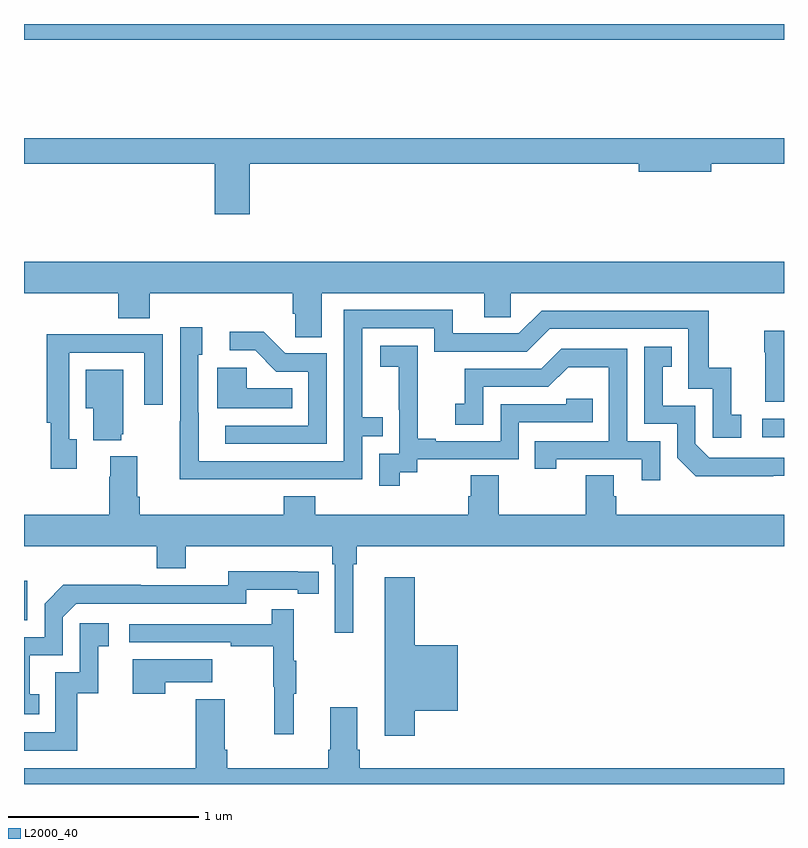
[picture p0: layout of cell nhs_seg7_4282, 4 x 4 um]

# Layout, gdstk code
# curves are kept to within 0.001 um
import gdstk
lib = gdstk.Library(unit=1e-6, precision=1e-09)
def R(c, l, rs):  # rectangles x0, y0, x1, y1
    for r in rs: c.add(gdstk.rectangle(r[:2], r[2:], *l))
def P(c, l, *ps):  # polygons
    for p in ps: c.add(gdstk.Polygon(p, *l))
L2000_40 = (2000, 40)

nhs_seg7_4282 = lib.new_cell('nhs_seg7_4282')
R(nhs_seg7_4282, L2000_40, [(381,1030.863,381.018,1031.071), (384.885,1031.826,385,1031.922), (381,1033.916,385,1034)])
P(nhs_seg7_4282, L2000_40, [(382.187,1033.264),(384.236,1033.264),(384.236,1033.222),(384.616,1033.222),(384.616,1033.264),(385,1033.264),(385,1033.4),(381,1033.4),(381,1033.264),(382.004,1033.264),(382.004,1032.999),(382.187,1032.999)],
  [(382.567,1032.584),(383.423,1032.584),(383.423,1032.457),(383.562,1032.457),(383.562,1032.584),(385,1032.584),(385,1032.748),(381,1032.748),(381,1032.584),(381.497,1032.584),(381.497,1032.451),(381.662,1032.451),(381.662,1032.584),(382.415,1032.584),(382.415,1032.475),(382.428,1032.475),(382.428,1032.352),(382.567,1032.352)],
  [(382.283,1031.604),(382.779,1031.604),(382.779,1031.829),(382.889,1031.829),(382.889,1031.93),(382.779,1031.93),(382.779,1032.399),(383.16,1032.399),(383.16,1032.276),(383.646,1032.276),(383.766,1032.396),(384.495,1032.396),(384.495,1032.081),(384.624,1032.081),(384.624,1031.823),(384.775,1031.823),(384.775,1031.943),(384.722,1031.943),(384.722,1032.19),(384.604,1032.19),(384.604,1032.492),(383.724,1032.492),(383.604,1032.372),(383.257,1032.372),(383.257,1032.495),(382.683,1032.495),(382.683,1031.7),(381.919,1031.7),(381.918,1032.258),(381.937,1032.258),(381.937,1032.403),(381.822,1032.403),(381.822,1031.909),(381.82,1031.909),(381.82,1031.603)],
  [(385,1032.385),(384.895,1032.385),(384.895,1032.272),(384.902,1032.272),(384.902,1032.011),(385,1032.011)],
  [(382.593,1032.267),(382.374,1032.267),(382.261,1032.38),(382.083,1032.38),(382.083,1032.282),(382.217,1032.282),(382.328,1032.171),(382.497,1032.171),(382.497,1031.886),(382.059,1031.886),(382.059,1031.79),(382.593,1031.79)],
  [(381.277,1031.814),(381.237,1031.814),(381.237,1032.27),(381.633,1032.27),(381.633,1031.997),(381.729,1031.997),(381.729,1032.366),(381.413,1032.366),(381.413,1032.368),(381.121,1032.368),(381.121,1031.902),(381.14,1031.902),(381.14,1031.658),(381.277,1031.658)],
  [(382.978,1031.641),(383.07,1031.641),(383.07,1031.709),(383.604,1031.709),(383.604,1031.904),(383.993,1031.904),(383.993,1032.027),(383.853,1032.027),(383.853,1032),(383.508,1032),(383.508,1031.805),(383.167,1031.805),(383.167,1031.818),(383.072,1031.818),(383.072,1032.101),(383.073,1032.101),(383.073,1032.307),(382.875,1032.307),(382.875,1032.197),(382.973,1032.197),(382.973,1031.969),(382.974,1031.969),(382.974,1031.739),(382.869,1031.739),(382.869,1031.571),(382.978,1031.571)],
  [(384.944,1031.622),(385,1031.622),(385,1031.718),(384.606,1031.718),(384.534,1031.79),(384.534,1031.991),(384.361,1031.991),(384.361,1032.195),(384.41,1032.195),(384.41,1032.301),(384.264,1032.301),(384.264,1031.895),(384.438,1031.895),(384.438,1031.718),(384.536,1031.621)],
  [(384.348,1031.805),(384.174,1031.805),(384.174,1032.291),(383.828,1032.291),(383.723,1032.186),(383.32,1032.186),(383.32,1032.001),(383.271,1032.001),(383.271,1031.892),(383.418,1031.892),(383.418,1032.09),(383.76,1032.09),(383.864,1032.194),(384.078,1032.194),(384.078,1031.805),(383.689,1031.805),(383.689,1031.658),(383.8,1031.658),(383.8,1031.709),(384.251,1031.709),(384.251,1031.598),(384.348,1031.598)],
  [(382.412,1032.082),(382.173,1032.082),(382.173,1032.19),(382.016,1032.19),(382.016,1031.978),(382.412,1031.978)],
  [(381.512,1031.841),(381.523,1031.841),(381.523,1032.181),(381.326,1032.181),(381.326,1031.978),(381.365,1031.978),(381.365,1031.81),(381.512,1031.81)],
  [(382.732,1031.156),(382.751,1031.156),(382.751,1031.252),(385,1031.252),(385,1031.416),(384.116,1031.416),(384.116,1031.514),(384.103,1031.514),(384.103,1031.624),(383.956,1031.624),(383.956,1031.416),(383.499,1031.416),(383.499,1031.624),(383.351,1031.624),(383.351,1031.514),(383.339,1031.514),(383.339,1031.416),(382.532,1031.416),(382.532,1031.515),(382.367,1031.515),(382.367,1031.416),(381.608,1031.416),(381.608,1031.512),(381.595,1031.512),(381.595,1031.725),(381.455,1031.725),(381.455,1031.618),(381.448,1031.618),(381.448,1031.416),(381,1031.416),(381,1031.252),(381.698,1031.252),(381.698,1031.135),(381.85,1031.135),(381.85,1031.252),(382.622,1031.252),(382.622,1031.156),(382.635,1031.156),(382.635,1030.797),(382.732,1030.797)],
  [(381.08,1030.473),(381.031,1030.473),(381.031,1030.677),(381.204,1030.677),(381.204,1030.878),(381.276,1030.95),(382.17,1030.95),(382.17,1031.022),(382.442,1031.022),(382.442,1031.002),(382.55,1031.002),(382.55,1031.118),(382.074,1031.119),(382.074,1031.046),(381.614,1031.046),(381.614,1031.048),(381.206,1031.048),(381.108,1030.95),(381.108,1030.773),(381,1030.773),(381,1030.368),(381.08,1030.368)],
  [(383.057,1030.385),(383.284,1030.385),(383.284,1030.729),(383.057,1030.729),(383.057,1031.089),(382.898,1031.089),(382.898,1030.254),(383.057,1030.254)],
  [(382.421,1030.475),(382.432,1030.475),(382.432,1030.649),(382.421,1030.649),(382.421,1030.921),(382.303,1030.921),(382.303,1030.842),(381.555,1030.842),(381.555,1030.746),(382.087,1030.746),(382.087,1030.726),(382.311,1030.726),(382.311,1030.512),(382.318,1030.512),(382.318,1030.263),(382.421,1030.263)],
  [(381.281,1030.478),(381.392,1030.478),(381.392,1030.725),(381.445,1030.725),(381.445,1030.846),(381.294,1030.846),(381.294,1030.587),(381.165,1030.587),(381.165,1030.272),(381,1030.272),(381,1030.176),(381.281,1030.176)],
  [(381.743,1030.535),(381.991,1030.535),(381.991,1030.657),(381.572,1030.657),(381.572,1030.476),(381.743,1030.476)],
  [(381.905,1030.447),(381.905,1030.084),(381,1030.084),(381,1030),(385,1030),(385,1030.084),(382.766,1030.084),(382.766,1030.18),(382.753,1030.18),(382.753,1030.405),(382.613,1030.405),(382.613,1030.18),(382.601,1030.18),(382.601,1030.084),(382.07,1030.084),(382.07,1030.18),(382.057,1030.18),(382.057,1030.447)])

lib.write_gds('nhs_seg7_4282.gds')
